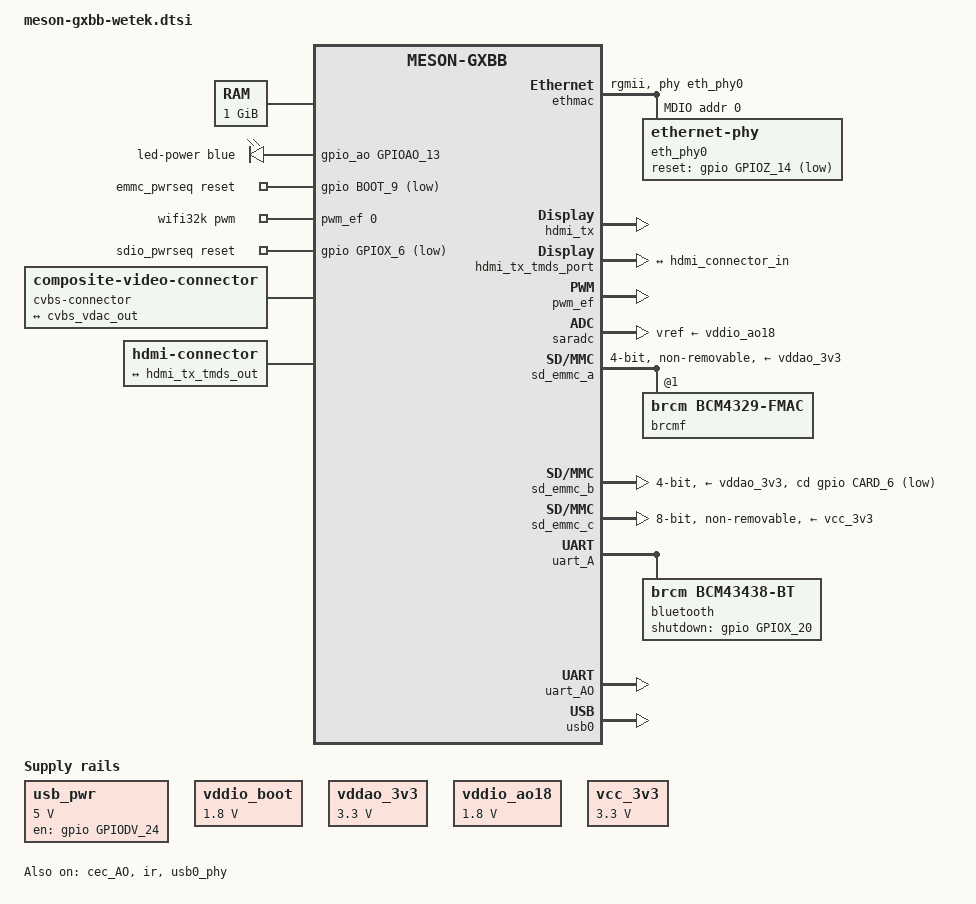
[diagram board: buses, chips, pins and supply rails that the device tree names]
// SPDX-License-Identifier: (GPL-2.0+ OR MIT)
/*
 * Copyright (c) 2016 Andreas Färber
 * Copyright (c) 2016 BayLibre, Inc.
 * Author: Kevin Hilman <khilman@kernel.org>
 */

#include "meson-gxbb.dtsi"
#include <dt-bindings/gpio/gpio.h>
#include <dt-bindings/leds/common.h>

/ {
	aliases {
		serial0 = &uart_AO;
		ethernet0 = &ethmac;
	};

	chosen {
		stdout-path = "serial0:115200n8";
	};

	memory@0 {
		device_type = "memory";
		reg = <0x0 0x0 0x0 0x40000000>;
	};

	leds {
		compatible = "gpio-leds";

		led-power {
			/* red in suspend or power-off */
			color = <LED_COLOR_ID_BLUE>;
			function = LED_FUNCTION_POWER;
			gpios = <&gpio_ao GPIOAO_13 GPIO_ACTIVE_HIGH>;
			default-state = "on";
			panic-indicator;
		};
	};

	usb_pwr: regulator-usb-pwrs {
		compatible = "regulator-fixed";

		regulator-name = "USB_PWR";

		regulator-min-microvolt = <5000000>;
		regulator-max-microvolt = <5000000>;

		gpio = <&gpio GPIODV_24 GPIO_ACTIVE_HIGH>;
		enable-active-high;
	};

	vddio_boot: regulator-vddio-boot {
		compatible = "regulator-fixed";
		regulator-name = "VDDIO_BOOT";
		regulator-min-microvolt = <1800000>;
		regulator-max-microvolt = <1800000>;
	};

	vddao_3v3: regulator-vddao-3v3 {
		compatible = "regulator-fixed";
		regulator-name = "VDDAO_3V3";
		regulator-min-microvolt = <3300000>;
		regulator-max-microvolt = <3300000>;
	};

	vddio_ao18: regulator-vddio-ao18 {
		compatible = "regulator-fixed";
		regulator-name = "VDDIO_AO18";
		regulator-min-microvolt = <1800000>;
		regulator-max-microvolt = <1800000>;
		regulator-always-on;
	};

	vcc_3v3: regulator-vcc-3v3 {
		compatible = "regulator-fixed";
		regulator-name = "VCC_3V3";
		regulator-min-microvolt = <3300000>;
		regulator-max-microvolt = <3300000>;
	};

	emmc_pwrseq: emmc-pwrseq {
		compatible = "mmc-pwrseq-emmc";
		reset-gpios = <&gpio BOOT_9 GPIO_ACTIVE_LOW>;
	};

	wifi32k: wifi32k {
		compatible = "pwm-clock";
		#clock-cells = <0>;
		clock-frequency = <32768>;
		pwms = <&pwm_ef 0 30518 0>; /* PWM_E at 32.768KHz */
	};

	sdio_pwrseq: sdio-pwrseq {
		compatible = "mmc-pwrseq-simple";
		reset-gpios = <&gpio GPIOX_6 GPIO_ACTIVE_LOW>;
		clocks = <&wifi32k>;
		clock-names = "ext_clock";
	};

	cvbs-connector {
		compatible = "composite-video-connector";

		port {
			cvbs_connector_in: endpoint {
				remote-endpoint = <&cvbs_vdac_out>;
			};
		};
	};

	hdmi-connector {
		compatible = "hdmi-connector";
		type = "a";

		port {
			hdmi_connector_in: endpoint {
				remote-endpoint = <&hdmi_tx_tmds_out>;
			};
		};
	};
};

&cec_AO {
	status = "okay";
	pinctrl-0 = <&ao_cec_pins>;
	pinctrl-names = "default";
	hdmi-phandle = <&hdmi_tx>;
};

&cvbs_vdac_port {
	cvbs_vdac_out: endpoint {
		remote-endpoint = <&cvbs_connector_in>;
	};
};

&ethmac {
	status = "okay";
	pinctrl-0 = <&eth_rgmii_pins>;
	pinctrl-names = "default";

	phy-handle = <&eth_phy0>;
	phy-mode = "rgmii";

	amlogic,tx-delay-ns = <2>;

	mdio {
		compatible = "snps,dwmac-mdio";
		#address-cells = <1>;
		#size-cells = <0>;

		eth_phy0: ethernet-phy@0 {
			/* Realtek RTL8211F (0x001cc916) */
			reg = <0>;

			reset-assert-us = <10000>;
			reset-deassert-us = <80000>;
			reset-gpios = <&gpio GPIOZ_14 GPIO_ACTIVE_LOW>;

			interrupt-parent = <&gpio_intc>;
			/* MAC_INTR on GPIOZ_15 */
			interrupts = <29 IRQ_TYPE_LEVEL_LOW>;
		};
	};
};

&hdmi_tx {
	status = "okay";
	pinctrl-0 = <&hdmi_hpd_pins>, <&hdmi_i2c_pins>;
	pinctrl-names = "default";
	hdmi-supply = <&vddio_ao18>;
};

&hdmi_tx_tmds_port {
	hdmi_tx_tmds_out: endpoint {
		remote-endpoint = <&hdmi_connector_in>;
	};
};

&ir {
	status = "okay";
	pinctrl-0 = <&remote_input_ao_pins>;
	pinctrl-names = "default";
};

&pwm_ef {
	status = "okay";
	pinctrl-0 = <&pwm_e_pins>;
	pinctrl-names = "default";
	clocks = <&clkc CLKID_FCLK_DIV4>;
	clock-names = "clkin0";
};

&saradc {
	status = "okay";
	vref-supply = <&vddio_ao18>;
};

/* Wireless SDIO Module */
&sd_emmc_a {
	status = "okay";
	pinctrl-0 = <&sdio_pins>;
	pinctrl-1 = <&sdio_clk_gate_pins>;
	pinctrl-names = "default", "clk-gate";
	#address-cells = <1>;
	#size-cells = <0>;

	bus-width = <4>;
	cap-sd-highspeed;
	max-frequency = <50000000>;

	non-removable;
	disable-wp;

	/* WiFi firmware requires power to be kept while in suspend */
	keep-power-in-suspend;

	mmc-pwrseq = <&sdio_pwrseq>;

	vmmc-supply = <&vddao_3v3>;
	vqmmc-supply = <&vddio_boot>;

	brcmf: wifi@1 {
		reg = <1>;
		compatible = "brcm,bcm4329-fmac";
	};
};

/* SD card */
&sd_emmc_b {
	status = "okay";
	pinctrl-0 = <&sdcard_pins>;
	pinctrl-1 = <&sdcard_clk_gate_pins>;
	pinctrl-names = "default", "clk-gate";

	bus-width = <4>;
	cap-sd-highspeed;
	max-frequency = <50000000>;
	disable-wp;

	cd-gpios = <&gpio CARD_6 GPIO_ACTIVE_LOW>;

	vmmc-supply = <&vddao_3v3>;
	vqmmc-supply = <&vcc_3v3>;
};

/* eMMC */
&sd_emmc_c {
	status = "okay";
	pinctrl-0 = <&emmc_pins>, <&emmc_ds_pins>;
	pinctrl-1 = <&emmc_clk_gate_pins>;
	pinctrl-names = "default", "clk-gate";

	bus-width = <8>;
	cap-mmc-highspeed;
	max-frequency = <200000000>;
	non-removable;
	disable-wp;
	mmc-ddr-1_8v;
	mmc-hs200-1_8v;

	mmc-pwrseq = <&emmc_pwrseq>;
	vmmc-supply = <&vcc_3v3>;
	vqmmc-supply = <&vddio_boot>;
};

/* This is connected to the Bluetooth module: */
&uart_A {
	status = "okay";
	pinctrl-0 = <&uart_a_pins>, <&uart_a_cts_rts_pins>;
	pinctrl-names = "default";
	uart-has-rtscts;

	bluetooth {
		compatible = "brcm,bcm43438-bt";
		shutdown-gpios = <&gpio GPIOX_20 GPIO_ACTIVE_HIGH>;
	};
};

/* This UART is brought out to the DB9 connector */
&uart_AO {
	status = "okay";
	pinctrl-0 = <&uart_ao_a_pins>;
	pinctrl-names = "default";
};

&usb0_phy {
	status = "okay";
	phy-supply = <&usb_pwr>;
};

&usb0 {
	status = "okay";
};
